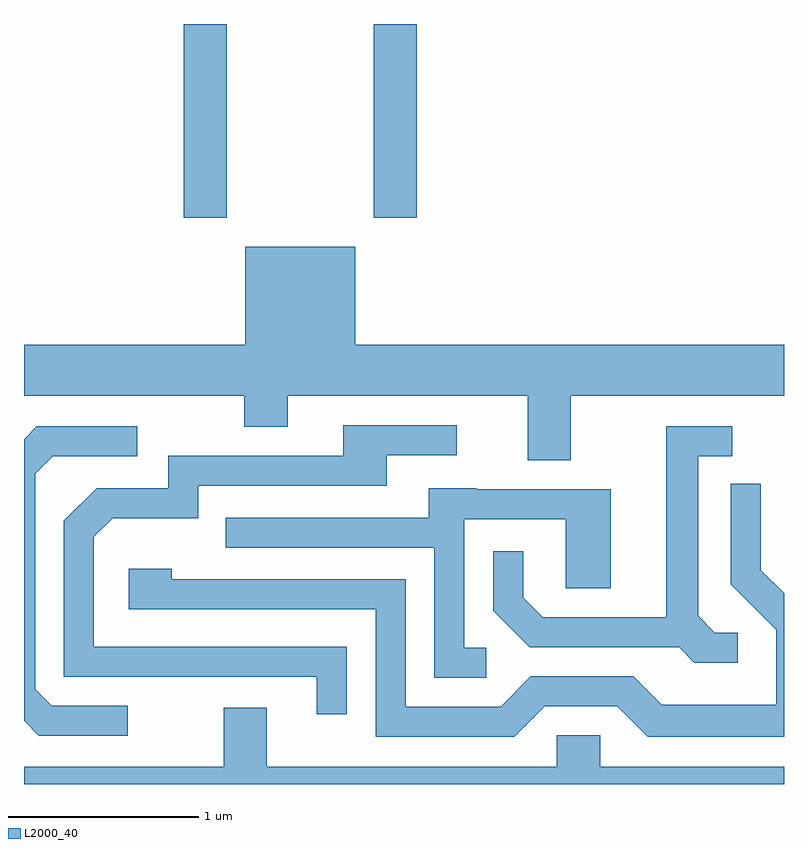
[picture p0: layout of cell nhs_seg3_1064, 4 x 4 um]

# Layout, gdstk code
import gdstk
lib = gdstk.Library(unit=1e-6, precision=1e-09)
def R(c, l, rs):  # rectangles x0, y0, x1, y1
    for r in rs: c.add(gdstk.rectangle(r[:2], r[2:], *l))
def P(c, l, *ps):  # polygons
    for p in ps: c.add(gdstk.Polygon(p, *l))
L2000_40 = (2000, 40)

nhs_seg3_1064 = lib.new_cell('nhs_seg3_1064')
R(nhs_seg3_1064, L2000_40, [(216.451,1206.871,216.679,1207.892), (217.451,1206.871,217.679,1207.892)])
P(nhs_seg3_1064, L2000_40, [(218.489,1205.936),(219.611,1205.936),(219.611,1206.204),(217.354,1206.204),(217.354,1206.719),(216.776,1206.719),(216.776,1206.204),(215.611,1206.204),(215.611,1205.936),(216.771,1205.936),(216.771,1205.771),(216.999,1205.771),(216.999,1205.936),(218.261,1205.936),(218.261,1205.596),(218.489,1205.596)],
  [(217.309,1204.614),(215.979,1204.614),(215.979,1205.194),(216.077,1205.291),(216.529,1205.291),(216.529,1205.461),(217.519,1205.461),(217.519,1205.621),(217.888,1205.621),(217.888,1205.779),(217.291,1205.779),(217.291,1205.619),(216.371,1205.619),(216.371,1205.449),(215.994,1205.449),(215.821,1205.277),(215.821,1204.456),(217.151,1204.456),(217.151,1204.258),(217.309,1204.258)],
  [(216.158,1204.304),(215.757,1204.304),(215.669,1204.392),(215.669,1205.524),(215.762,1205.616),(216.208,1205.616),(216.208,1205.774),(215.679,1205.774),(215.611,1205.706),(215.611,1204.224),(215.689,1204.146),(216.158,1204.146)],
  [(219.368,1204.689),(219.247,1204.689),(219.159,1204.777),(219.159,1205.616),(219.338,1205.616),(219.338,1205.774),(218.991,1205.774),(218.991,1204.769),(218.342,1204.769),(218.239,1204.872),(218.239,1205.118),(218.081,1205.118),(218.081,1204.804),(218.274,1204.611),(219.059,1204.611),(219.139,1204.531),(219.368,1204.531)],
  [(218.352,1204.301),(218.734,1204.301),(218.894,1204.141),(219.611,1204.141),(219.611,1204.895),(219.489,1205.017),(219.489,1205.473),(219.331,1205.473),(219.331,1204.944),(219.571,1204.704),(219.571,1204.309),(218.967,1204.309),(218.817,1204.459),(218.279,1204.459),(218.119,1204.299),(217.619,1204.299),(217.619,1204.969),(216.389,1204.969),(216.389,1205.024),(216.161,1205.024),(216.161,1204.811),(217.461,1204.811),(217.461,1204.141),(218.192,1204.141)],
  [(218.043,1204.609),(217.929,1204.609),(217.929,1205.286),(218.461,1205.286),(218.461,1204.921),(218.699,1204.921),(218.699,1205.444),(217.995,1205.444),(217.995,1205.449),(217.741,1205.449),(217.741,1205.294),(216.673,1205.294),(216.673,1205.136),(217.771,1205.136),(217.771,1204.451),(218.043,1204.451)],
  [(219.611,1203.984),(218.644,1203.984),(218.644,1204.149),(218.416,1204.149),(218.416,1203.984),(216.889,1203.984),(216.889,1204.294),(216.661,1204.294),(216.661,1203.984),(215.611,1203.984),(215.611,1203.892),(219.611,1203.892)])

lib.write_gds('nhs_seg3_1064.gds')
